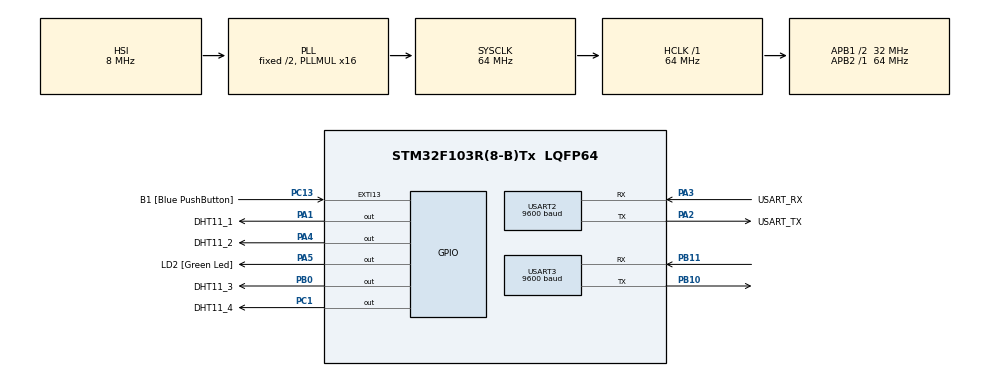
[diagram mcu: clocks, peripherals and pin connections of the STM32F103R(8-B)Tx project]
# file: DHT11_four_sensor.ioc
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Mcu.Family=STM32F1
Mcu.Name=STM32F103R(8-B)Tx
Mcu.Package=LQFP64
NVIC.EXTI15_10_IRQn=true\:0\:0\:false\:false\:true\:true\:true\:true
NVIC.PriorityGroup=NVIC_PRIORITYGROUP_4
NVIC.USART3_IRQn=true\:0\:0\:false\:false\:true\:true\:true\:true
PA1.GPIO_Label=DHT11_1
PA1.PinState=GPIO_PIN_SET
PA1.Signal=GPIO_Output
PA13.GPIO_Label=TMS
PA13.Mode=Serial_Wire
PA13.Signal=SYS_JTMS-SWDIO
PA14.GPIO_Label=TCK
PA14.Mode=Serial_Wire
PA14.Signal=SYS_JTCK-SWCLK
PA2.GPIO_Label=USART_TX
PA2.GPIO_Mode=GPIO_MODE_AF_PP
PA2.GPIO_PuPd=GPIO_NOPULL
PA2.GPIO_Speed=GPIO_SPEED_FREQ_LOW
PA2.Mode=Asynchronous
PA2.Signal=USART2_TX
PA3.GPIO_Label=USART_RX
PA3.GPIO_Mode=GPIO_MODE_AF_PP
PA3.GPIO_PuPd=GPIO_NOPULL
PA3.GPIO_Speed=GPIO_SPEED_FREQ_LOW
PA3.Mode=Asynchronous
PA3.Signal=USART2_RX
PA4.GPIO_Label=DHT11_2
PA4.PinState=GPIO_PIN_SET
PA4.Signal=GPIO_Output
PA5.GPIO_Label=LD2 [Green Led]
PA5.GPIO_ModeDefaultOutputPP=GPIO_MODE_OUTPUT_PP
PA5.GPIO_PuPd=GPIO_NOPULL
PA5.GPIO_Speed=GPIO_SPEED_FREQ_LOW
PA5.PinState=GPIO_PIN_RESET
PA5.Signal=GPIO_Output
PB0.GPIO_Label=DHT11_3
PB0.PinState=GPIO_PIN_SET
PB0.Signal=GPIO_Output
PB10.Mode=Asynchronous
PB10.Signal=USART3_TX
PB11.GPIO_PuPd=GPIO_PULLUP
PB11.Mode=Asynchronous
PB11.Signal=USART3_RX
PB3.GPIO_Label=SWO
PB3.Signal=SYS_JTDO-TRACESWO
PC1.GPIO_Label=DHT11_4
PC1.PinState=GPIO_PIN_SET
PC1.Signal=GPIO_Output
PC13-TAMPER-RTC.GPIO_Label=B1 [Blue PushButton]
PC13-TAMPER-RTC.GPIO_PuPd=GPIO_NOPULL
PC13-TAMPER-RTC.Signal=GPXTI13
PC14-OSC32_IN.Mode=LSE-External-Oscillator
PC14-OSC32_IN.Signal=RCC_OSC32_IN
PC15-OSC32_OUT.Mode=LSE-External-Oscillator
PC15-OSC32_OUT.Signal=RCC_OSC32_OUT
PD0-OSC_IN.Mode=HSE-External-Clock-Source
PD0-OSC_IN.Signal=RCC_OSC_IN
PD1-OSC_OUT.Mode=HSE-External-Clock-Source
PD1-OSC_OUT.Signal=RCC_OSC_OUT
ProjectManager.HeapSize=0x200
ProjectManager.StackSize=0x400
ProjectManager.TargetToolchain=STM32CubeIDE
RCC.AHBFreq_Value=64000000
RCC.APB1CLKDivider=RCC_HCLK_DIV2
RCC.APB1Freq_Value=32000000
RCC.APB1TimFreq_Value=64000000
RCC.APB2Freq_Value=64000000
RCC.APB2TimFreq_Value=64000000
RCC.HCLKFreq_Value=64000000
RCC.PLLMUL=RCC_PLL_MUL16
RCC.RTCClockSelection=RCC_RTCCLKSOURCE_LSE
RCC.SYSCLKFreq_VALUE=64000000
RCC.SYSCLKSource=RCC_SYSCLKSOURCE_PLLCLK
RCC.USBFreq_Value=64000000
TIM2.Prescaler=64-1
USART2.BaudRate=9600
USART2.VirtualMode=VM_ASYNC
USART3.BaudRate=9600
USART3.VirtualMode=VM_ASYNC
VP_TIM2_VS_ClockSourceINT.Mode=Internal
board=NUCLEO-F103RB

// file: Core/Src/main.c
/* USER CODE BEGIN Header */
/**
  ******************************************************************************
  * @file           : main.c
  * @brief          : Main program body
  ******************************************************************************
  * @attention
  *
  * Copyright (c) 2026 STMicroelectronics.
  * All rights reserved.
  *
  * This software is licensed under terms that can be found in the LICENSE file
  * in the root directory of this software component.
  * If no LICENSE file comes with this software, it is provided AS-IS.
  *
  ******************************************************************************
  */
/* USER CODE END Header */
#include "main.h"

/* USER CODE BEGIN Includes */
#include "stdio.h"
#include "string.h"
/* USER CODE END Includes */

/* USER CODE BEGIN PD */
#define DHT11_1_PORT GPIOA
#define DHT11_1_PIN  GPIO_PIN_1   // A1

#define DHT11_2_PORT GPIOA
#define DHT11_2_PIN  GPIO_PIN_4   // A2

#define DHT11_3_PORT GPIOB
#define DHT11_3_PIN  GPIO_PIN_0   // A3

#define DHT11_4_PORT GPIOC
#define DHT11_4_PIN  GPIO_PIN_1   // A4
/* USER CODE END PD */

TIM_HandleTypeDef htim2;

UART_HandleTypeDef huart2;
UART_HandleTypeDef huart3;

/* USER CODE BEGIN PV */
uint8_t Rh_byte1, Rh_byte2, Temp_byte1, Temp_byte2;
uint16_t SUM;
uint8_t Presence = 0;
uint8_t TEMP = 0;
uint8_t RH = 0;
float Temperature = 0;
float Humidity = 0;
/* USER CODE END PV */

void SystemClock_Config(void);
static void MX_GPIO_Init(void);
static void MX_TIM2_Init(void);
static void MX_USART2_UART_Init(void);
static void MX_USART3_UART_Init(void);

/* USER CODE BEGIN 0 */
void delay_us(uint16_t us)
{
    __HAL_TIM_SET_COUNTER(&htim2, 0);
    while (__HAL_TIM_GET_COUNTER(&htim2) < us);
}

void Set_Pin_Output(GPIO_TypeDef *GPIOx, uint16_t GPIO_Pin)
{
    GPIO_InitTypeDef GPIO_InitStruct = {0};

    GPIO_InitStruct.Pin = GPIO_Pin;
    GPIO_InitStruct.Mode = GPIO_MODE_OUTPUT_PP;
    GPIO_InitStruct.Speed = GPIO_SPEED_FREQ_LOW;

    HAL_GPIO_Init(GPIOx, &GPIO_InitStruct);
}

void Set_Pin_Input(GPIO_TypeDef *GPIOx, uint16_t GPIO_Pin)
{
    GPIO_InitTypeDef GPIO_InitStruct = {0};

    GPIO_InitStruct.Pin = GPIO_Pin;
    GPIO_InitStruct.Mode = GPIO_MODE_INPUT;
    GPIO_InitStruct.Pull = GPIO_PULLUP;

    HAL_GPIO_Init(GPIOx, &GPIO_InitStruct);
}

void DHT11_Start(GPIO_TypeDef *GPIOx, uint16_t GPIO_Pin)
{
    Set_Pin_Output(GPIOx, GPIO_Pin);

    HAL_GPIO_WritePin(GPIOx, GPIO_Pin, 0);
    delay_us(18000);

    HAL_GPIO_WritePin(GPIOx, GPIO_Pin, 1);
    delay_us(20);

    Set_Pin_Input(GPIOx, GPIO_Pin);
}

uint8_t DHT11_Check_Response(GPIO_TypeDef *GPIOx, uint16_t GPIO_Pin)
{
    uint8_t Response = 0;

    delay_us(40);

    if (!(HAL_GPIO_ReadPin(GPIOx, GPIO_Pin)))
    {
        delay_us(80);

        if ((HAL_GPIO_ReadPin(GPIOx, GPIO_Pin)))
            Response = 1;
        else
            Response = 0;
    }

    while ((HAL_GPIO_ReadPin(GPIOx, GPIO_Pin)));

    return Response;
}

uint8_t DHT11_Read(GPIO_TypeDef *GPIOx, uint16_t GPIO_Pin)
{
    uint8_t i = 0, j;

    for (j = 0; j < 8; j++)
    {
        while (!(HAL_GPIO_ReadPin(GPIOx, GPIO_Pin)));

        delay_us(40);

        if (!(HAL_GPIO_ReadPin(GPIOx, GPIO_Pin)))
        {
            i &= ~(1 << (7 - j));
        }
        else
        {
            i |= (1 << (7 - j));
        }

        while ((HAL_GPIO_ReadPin(GPIOx, GPIO_Pin)));
    }

    return i;
}

uint8_t Read_DHT11(GPIO_TypeDef *GPIOx, uint16_t GPIO_Pin, uint8_t *temp, uint8_t *humid)
{
    uint8_t rh1, rh2, temp1, temp2, sum;
    uint8_t presence;

    DHT11_Start(GPIOx, GPIO_Pin);

    presence = DHT11_Check_Response(GPIOx, GPIO_Pin);

    if (presence == 1)
    {
        rh1 = DHT11_Read(GPIOx, GPIO_Pin);
        rh2 = DHT11_Read(GPIOx, GPIO_Pin);
        temp1 = DHT11_Read(GPIOx, GPIO_Pin);
        temp2 = DHT11_Read(GPIOx, GPIO_Pin);
        sum = DHT11_Read(GPIOx, GPIO_Pin);

        if (sum == (uint8_t)(rh1 + rh2 + temp1 + temp2))
        {
            *humid = rh1;
            *temp = temp1;
            return 1;
        }
    }

    return 0;
}

/* USER CODE END 0 */

int main(void)
{

  /* MCU Configuration--------------------------------------------------------*/

  /* Reset of all peripherals, Initializes the Flash interface and the Systick. */
  HAL_Init();

  /* Configure the system clock */
  SystemClock_Config();

  /* Initialize all configured peripherals */
  MX_GPIO_Init();
  MX_TIM2_Init();
  MX_USART2_UART_Init();
  MX_USART3_UART_Init();
  /* USER CODE BEGIN 2 */
  HAL_TIM_Base_Start(&htim2);
  HAL_Delay(2000);

  /* USER CODE END 2 */

  /* Infinite loop */
  while (1)
  {

    /* USER CODE BEGIN 3 */

    uint8_t temp1 = 0, humid1 = 0;
    uint8_t temp2 = 0, humid2 = 0;
    uint8_t temp3 = 0, humid3 = 0;
    uint8_t temp4 = 0, humid4 = 0;

    uint8_t ok1 = 0, ok2 = 0, ok3 = 0, ok4 = 0;

    uint8_t sensorstr[200];

    HAL_GPIO_TogglePin(GPIOA, GPIO_PIN_5);

    ok1 = Read_DHT11(DHT11_1_PORT, DHT11_1_PIN, &temp1, &humid1);
    HAL_Delay(1000);

    ok2 = Read_DHT11(DHT11_2_PORT, DHT11_2_PIN, &temp2, &humid2);
    HAL_Delay(1000);

    ok3 = Read_DHT11(DHT11_3_PORT, DHT11_3_PIN, &temp3, &humid3);
    HAL_Delay(1000);

    ok4 = Read_DHT11(DHT11_4_PORT, DHT11_4_PIN, &temp4, &humid4);
    HAL_Delay(1000);

    // ===== CM1107N CO2 센서 읽기 =====
    /* USER CODE BEGIN 3 */
    uint8_t co2_cmd[4] = {0x11, 0x01, 0x01, 0xED};
    uint8_t co2_rx[8] = {0};
    uint16_t co2_value = 9999;

    HAL_UART_Transmit(&huart3, co2_cmd, 4, 100);

    if (HAL_UART_Receive(&huart3, co2_rx, 8, 1000) == HAL_OK)
    {
        co2_value = ((uint16_t)co2_rx[3] << 8) | co2_rx[4];
    }
    /* USER CODE END 3 */

    sprintf((char*)sensorstr,
            "%d,%d,%d,%d,%d,%d,%d,%d,%d\r\n",
            ok1 ? temp1 : 255,
            ok1 ? humid1 : 255,
            ok2 ? temp2 : 255,
            ok2 ? humid2 : 255,
            ok3 ? temp3 : 255,
            ok3 ? humid3 : 255,
            ok4 ? temp4 : 255,
            ok4 ? humid4 : 255,
            co2_value);

    HAL_UART_Transmit(&huart2,
                      sensorstr,
                      strlen((char*)sensorstr),
                      100);

    // 센서 4개 딜레이(4x1000ms) + 읽기/CO2 처리 시간(~0.1~1s)을 합쳐
    // 한 사이클이 총 약 15초가 되도록 마지막 딜레이를 늘림
    // (1학기 때 학습한 LSTM 모델이 15초 간격 데이터를 기준으로 만들어졌기 때문)
    HAL_Delay(10000);
  }
  /* USER CODE END 3 */
}

void SystemClock_Config(void)
{
  RCC_OscInitTypeDef RCC_OscInitStruct = {0};
  RCC_ClkInitTypeDef RCC_ClkInitStruct = {0};

  /** Initializes the RCC Oscillators according to the specified parameters
  * in the RCC_OscInitTypeDef structure.
  */
  RCC_OscInitStruct.OscillatorType = RCC_OSCILLATORTYPE_HSI;
  RCC_OscInitStruct.HSIState = RCC_HSI_ON;
  RCC_OscInitStruct.HSICalibrationValue = RCC_HSICALIBRATION_DEFAULT;
  RCC_OscInitStruct.PLL.PLLState = RCC_PLL_ON;
  RCC_OscInitStruct.PLL.PLLSource = RCC_PLLSOURCE_HSI_DIV2;
  RCC_OscInitStruct.PLL.PLLMUL = RCC_PLL_MUL16;
  if (HAL_RCC_OscConfig(&RCC_OscInitStruct) != HAL_OK)
  {
    Error_Handler();
  }

  /** Initializes the CPU, AHB and APB buses clocks
  */
  RCC_ClkInitStruct.ClockType = RCC_CLOCKTYPE_HCLK|RCC_CLOCKTYPE_SYSCLK
                              |RCC_CLOCKTYPE_PCLK1|RCC_CLOCKTYPE_PCLK2;
  RCC_ClkInitStruct.SYSCLKSource = RCC_SYSCLKSOURCE_PLLCLK;
  RCC_ClkInitStruct.AHBCLKDivider = RCC_SYSCLK_DIV1;
  RCC_ClkInitStruct.APB1CLKDivider = RCC_HCLK_DIV2;
  RCC_ClkInitStruct.APB2CLKDivider = RCC_HCLK_DIV1;

  if (HAL_RCC_ClockConfig(&RCC_ClkInitStruct, FLASH_LATENCY_2) != HAL_OK)
  {
    Error_Handler();
  }
}

static void MX_TIM2_Init(void)
{

  TIM_ClockConfigTypeDef sClockSourceConfig = {0};
  TIM_MasterConfigTypeDef sMasterConfig = {0};

  htim2.Instance = TIM2;
  htim2.Init.Prescaler = 64-1;
  htim2.Init.CounterMode = TIM_COUNTERMODE_UP;
  htim2.Init.Period = 65535;
  htim2.Init.ClockDivision = TIM_CLOCKDIVISION_DIV1;
  htim2.Init.AutoReloadPreload = TIM_AUTORELOAD_PRELOAD_DISABLE;
  if (HAL_TIM_Base_Init(&htim2) != HAL_OK)
  {
    Error_Handler();
  }
  sClockSourceConfig.ClockSource = TIM_CLOCKSOURCE_INTERNAL;
  if (HAL_TIM_ConfigClockSource(&htim2, &sClockSourceConfig) != HAL_OK)
  {
    Error_Handler();
  }
  sMasterConfig.MasterOutputTrigger = TIM_TRGO_RESET;
  sMasterConfig.MasterSlaveMode = TIM_MASTERSLAVEMODE_DISABLE;
  if (HAL_TIMEx_MasterConfigSynchronization(&htim2, &sMasterConfig) != HAL_OK)
  {
    Error_Handler();
  }

}

static void MX_USART2_UART_Init(void)
{

  huart2.Instance = USART2;
  huart2.Init.BaudRate = 9600;
  huart2.Init.WordLength = UART_WORDLENGTH_8B;
  huart2.Init.StopBits = UART_STOPBITS_1;
  huart2.Init.Parity = UART_PARITY_NONE;
  huart2.Init.Mode = UART_MODE_TX_RX;
  huart2.Init.HwFlowCtl = UART_HWCONTROL_NONE;
  huart2.Init.OverSampling = UART_OVERSAMPLING_16;
  if (HAL_UART_Init(&huart2) != HAL_OK)
  {
    Error_Handler();
  }

}

static void MX_USART3_UART_Init(void)
{

  huart3.Instance = USART3;
  huart3.Init.BaudRate = 9600;
  huart3.Init.WordLength = UART_WORDLENGTH_8B;
  huart3.Init.StopBits = UART_STOPBITS_1;
  huart3.Init.Parity = UART_PARITY_NONE;
  huart3.Init.Mode = UART_MODE_TX_RX;
  huart3.Init.HwFlowCtl = UART_HWCONTROL_NONE;
  huart3.Init.OverSampling = UART_OVERSAMPLING_16;
  if (HAL_UART_Init(&huart3) != HAL_OK)
  {
    Error_Handler();
  }

}

static void MX_GPIO_Init(void)
{
  GPIO_InitTypeDef GPIO_InitStruct = {0};

  /* GPIO Ports Clock Enable */
  __HAL_RCC_GPIOC_CLK_ENABLE();
  __HAL_RCC_GPIOD_CLK_ENABLE();
  __HAL_RCC_GPIOA_CLK_ENABLE();
  __HAL_RCC_GPIOB_CLK_ENABLE();

  /*Configure GPIO pin Output Level */
  HAL_GPIO_WritePin(DHT11_4_GPIO_Port, DHT11_4_Pin, GPIO_PIN_SET);

  /*Configure GPIO pin Output Level */
  HAL_GPIO_WritePin(GPIOA, DHT11_1_Pin|DHT11_2_Pin, GPIO_PIN_SET);

  /*Configure GPIO pin Output Level */
  HAL_GPIO_WritePin(LD2_GPIO_Port, LD2_Pin, GPIO_PIN_RESET);

  /*Configure GPIO pin Output Level */
  HAL_GPIO_WritePin(DHT11_3_GPIO_Port, DHT11_3_Pin, GPIO_PIN_SET);

  /*Configure GPIO pin : B1_Pin */
  GPIO_InitStruct.Pin = B1_Pin;
  GPIO_InitStruct.Mode = GPIO_MODE_IT_RISING;
  GPIO_InitStruct.Pull = GPIO_NOPULL;
  HAL_GPIO_Init(B1_GPIO_Port, &GPIO_InitStruct);

  /*Configure GPIO pin : DHT11_4_Pin */
  GPIO_InitStruct.Pin = DHT11_4_Pin;
  GPIO_InitStruct.Mode = GPIO_MODE_OUTPUT_PP;
  GPIO_InitStruct.Pull = GPIO_NOPULL;
  GPIO_InitStruct.Speed = GPIO_SPEED_FREQ_LOW;
  HAL_GPIO_Init(DHT11_4_GPIO_Port, &GPIO_InitStruct);

  /*Configure GPIO pins : DHT11_1_Pin DHT11_2_Pin LD2_Pin */
  GPIO_InitStruct.Pin = DHT11_1_Pin|DHT11_2_Pin|LD2_Pin;
  GPIO_InitStruct.Mode = GPIO_MODE_OUTPUT_PP;
  GPIO_InitStruct.Pull = GPIO_NOPULL;
  GPIO_InitStruct.Speed = GPIO_SPEED_FREQ_LOW;
  HAL_GPIO_Init(GPIOA, &GPIO_InitStruct);

  /*Configure GPIO pin : DHT11_3_Pin */
  GPIO_InitStruct.Pin = DHT11_3_Pin;
  GPIO_InitStruct.Mode = GPIO_MODE_OUTPUT_PP;
  GPIO_InitStruct.Pull = GPIO_NOPULL;
  GPIO_InitStruct.Speed = GPIO_SPEED_FREQ_LOW;
  HAL_GPIO_Init(DHT11_3_GPIO_Port, &GPIO_InitStruct);

  /*Configure GPIO pin : PB10 */
  GPIO_InitStruct.Pin = GPIO_PIN_10;
  GPIO_InitStruct.Mode = GPIO_MODE_AF_PP;
  GPIO_InitStruct.Speed = GPIO_SPEED_FREQ_HIGH;
  HAL_GPIO_Init(GPIOB, &GPIO_InitStruct);

  /*Configure GPIO pin : PB11 */
  /*Configure GPIO pin : PB11 */
  /*Configure GPIO pin : PB11 */
  GPIO_InitStruct.Pin = GPIO_PIN_11;
  GPIO_InitStruct.Mode = GPIO_MODE_INPUT;
  GPIO_InitStruct.Pull = GPIO_NOPULL;
  HAL_GPIO_Init(GPIOB, &GPIO_InitStruct);

  /* EXTI interrupt init*/

}

void Error_Handler(void)
{
  __disable_irq();
  while (1)
  {
  }
}
